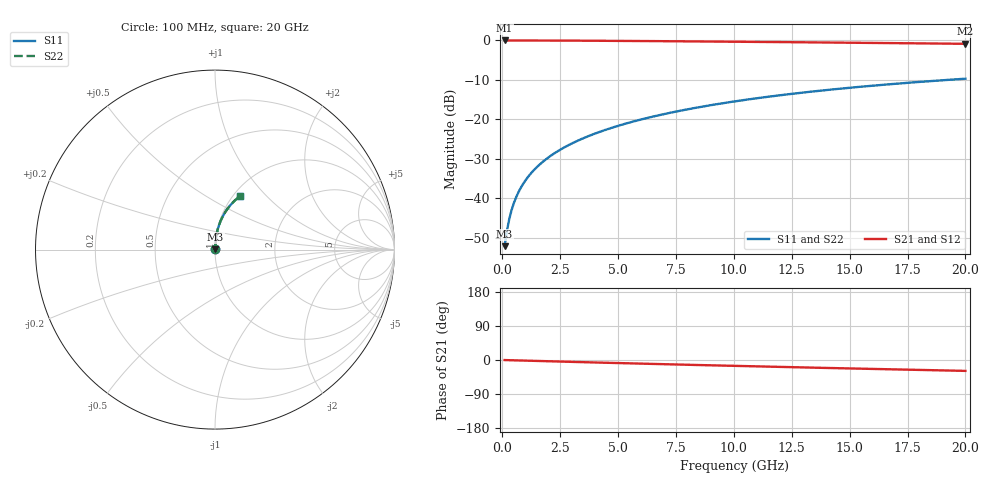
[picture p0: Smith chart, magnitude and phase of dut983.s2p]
! Touchstone file exported from HFSS 2024.1.0
!  File:  C:/UserFiles/LocalFiles/RDL_TSV_Batchsim/temp_RDL_top_983_1779939292.aedt
!  Generated:  11:37:25 AM May 28, 2026
!  Design:  RDL_top
!  Project:  temp_RDL_top_983_1779939292
!  Setup:  Setup1
!  Solution:  Sweep
! Variables:
!  dtsv = 10.80580581um
!  hbump = 3um
!  htsv = 53.05um
!  ldown = 100um
!  lrdl = 361.81um
!  p = 40
!  p1 = 52.76um
!  rhole = 1um
!  t = 450um
!  tdown = 3.915915916um
!  trdl = 4.62um
!  wdown = 15.38538539um
!  wrdl = 16.85um
# GHz S MA R 50.000000
! Terminal data exported
! Port[1] = Box2_T1
! Port[2] = Box2_T2
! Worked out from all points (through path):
!   200 points, 100 MHz to 20 GHz, reference 50 ohm
!   highest |S21| = -0.02 dB at 100 MHz (marker M1); lowest = -0.9 dB at 20 GHz (marker M2)
!   group delay of S21, straight-line fit = 3.96 ps
!   lowest |S11| = -52.1 dB at 100 MHz (marker M3), VSWR 1.00, Z = 50.2 + j0.172 ohm
!   |S11| at or under -10 dB: start of sweep to 19.26 GHz
!   |S22| runs from -52.1 to -9.7 dB; largest |S21 - S12| = 3.6e-15
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0.1  0.00247 44.1  0.9982 -0.2  0.9982 -0.2  0.00247 44.1
! Gamma 0 0 0 0
! Port Impedance 50 0 50 0
0.2  0.003865 62.5  0.9981 -0.3  0.9981 -0.3  0.003865 62.5
0.3  0.005436 70.6  0.9981 -0.5  0.9981 -0.5  0.005435 70.6
0.4  0.007056 74.9  0.998 -0.7  0.998 -0.7  0.007054 74.9
0.5  0.008689 77.5  0.9979 -0.8  0.9979 -0.8  0.008687 77.5
0.7  0.01196 80.4  0.9977 -1.2  0.9977 -1.2  0.01196 80.5
0.8  0.01359 81.3  0.9976 -1.3  0.9976 -1.3  0.01358 81.3
1  0.01683 82.5  0.9974 -1.7  0.9974 -1.7  0.01683 82.5
1.2  0.02007 83.3  0.9971 -2.0  0.9971 -2.0  0.02007 83.3
1.4  0.0233 83.8  0.9968 -2.3  0.9968 -2.3  0.0233 83.8
1.7  0.02816 84.3  0.9963 -2.8  0.9963 -2.8  0.02816 84.3
2  0.03302 84.6  0.9957 -3.3  0.9957 -3.3  0.03302 84.6
2.7  0.04443 84.9  0.994 -4.5  0.994 -4.5  0.04443 84.9
3.5  0.05761 84.8  0.9916 -5.7  0.9916 -5.7  0.05761 84.8
4.2  0.06925 84.5  0.9891 -6.9  0.9891 -6.9  0.06925 84.5
5  0.08269 84.0  0.986 -8.1  0.986 -8.1  0.08269 84.0
6.8  0.1133 82.3  0.9781 -10.8  0.9781 -10.8  0.1133 82.3
8.4  0.1407 80.5  0.9704 -13.2  0.9704 -13.2  0.1407 80.5
10.1  0.1698 78.4  0.9618 -15.6  0.9618 -15.6  0.1698 78.4
13.4  0.2251 74.0  0.9441 -20.2  0.9441 -20.2  0.2251 74.0
16.7  0.2778 69.5  0.9251 -24.5  0.9251 -24.5  0.2778 69.5
20  0.3269 65.2  0.9052 -28.7  0.9052 -28.7  0.3269 65.2
